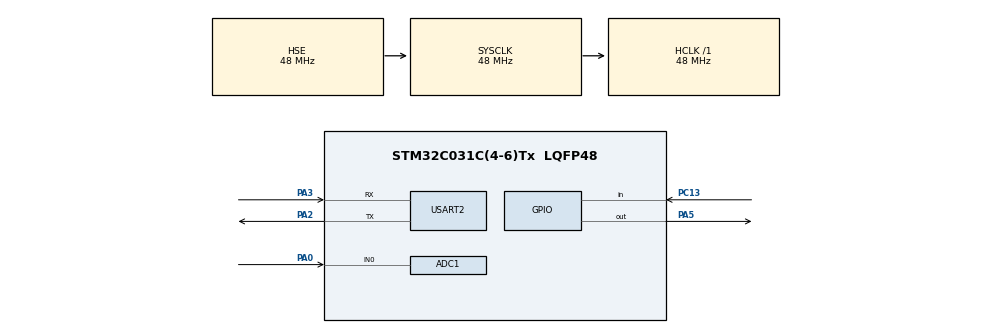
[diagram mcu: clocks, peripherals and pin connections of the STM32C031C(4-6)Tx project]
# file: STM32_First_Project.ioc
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ADC1.NbrOfConversionFlag=0
ADC1.SelectedChannel=ADC_CHANNEL_0
ADC1.master=1
Mcu.Family=STM32C0
Mcu.Name=STM32C031C(4-6)Tx
Mcu.Package=LQFP48
NUCLEO-C031C6.BUTTON=1
NUCLEO-C031C6.LD4=true
NUCLEO-C031C6.VCP=false
NVIC.ADC1_IRQn=true\:0\:0\:false\:false\:true\:true\:true\:true
NVIC.USART2_IRQn=true\:0\:0\:false\:false\:true\:true\:true\:true
PA0.Mode=IN0
PA0.Signal=ADC1_IN0
PA13.GPIO_Label=DEBUG_SWDIO
PA13.Signal=DEBUG_SWDIO
PA14-BOOT0.GPIO_Label=DEBUG_SWCLK
PA14-BOOT0.Signal=DEBUG_SWCLK
PA2.Mode=Asynchronous
PA2.Signal=USART2_TX
PA3.Mode=Asynchronous
PA3.Signal=USART2_RX
PA5.Signal=GPIO_Output
PC13.Signal=GPIO_Input
PC14-OSCX_IN\ (PC14).GPIO_Label=RCC_OSCX_IN
PC14-OSCX_IN\ (PC14).Mode=LSE-External-Oscillator
PC14-OSCX_IN\ (PC14).Signal=RCC_OSCX_IN
PC15-OSCX_OUT\ (PC15).GPIO_Label=RCC_OSCX_OUT
PC15-OSCX_OUT\ (PC15).Mode=LSE-External-Oscillator
PC15-OSCX_OUT\ (PC15).Signal=RCC_OSCX_OUT
PF0-OSC_IN\ (PF0).GPIO_Label=RCC_OSC_IN
PF0-OSC_IN\ (PF0).Mode=HSE-External-Oscillator
PF0-OSC_IN\ (PF0).Signal=RCC_OSC_IN
PF1-OSC_OUT\ (PF1).GPIO_Label=RCC_OSC_OUT
PF1-OSC_OUT\ (PF1).Mode=HSE-External-Oscillator
PF1-OSC_OUT\ (PF1).Signal=RCC_OSC_OUT
ProjectManager.HeapSize=0x200
ProjectManager.StackSize=0x400
ProjectManager.TargetToolchain=STM32CubeIDE
RCC.ADCFreq_Value=48000000
RCC.AHBFreq_Value=48000000
RCC.CortexFreq_Value=48000000
RCC.EXTERNAL_CLOCK_VALUE=12288000
RCC.HCLKFreq_Value=48000000
RCC.HSE_VALUE=48000000
RCC.HSISYSCLKDivider=RCC_HSI_DIV1
RCC.HSI_VALUE=48000000
RCC.SYSCLKFreq_VALUE=48000000
RCC.SYSCLKSource=RCC_SYSCLKSOURCE_HSE
USART2.VirtualMode-Asynchronous=VM_ASYNC
VP_NUCLEO-C031C6_VS_BSP_COMMON.Mode=COMMON
board=NUCLEO-C031C6

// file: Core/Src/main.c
/* USER CODE BEGIN Header */
/**
  ******************************************************************************
  * @file           : main.c
  * @brief          : Main program body
  ******************************************************************************
  * @attention
  *
  * Copyright (c) 2026 STMicroelectronics.
  * All rights reserved.
  *
  * This software is licensed under terms that can be found in the LICENSE file
  * in the root directory of this software component.
  * If no LICENSE file comes with this software, it is provided AS-IS.
  *
  ******************************************************************************
  */
/* USER CODE END Header */
#include "main.h"

/* USER CODE BEGIN Includes */
#include <string.h>
#include "stm32c0xx.h"
/* USER CODE END Includes */

ADC_HandleTypeDef hadc1;

UART_HandleTypeDef huart2;

/* USER CODE BEGIN PV */
uint32_t adc_value = 0;

#define FILTER_SIZE 10

uint32_t adc_buffer[FILTER_SIZE];
uint32_t adc_filtered = 0;

static volatile uint8_t uart_rx_byte = 0;

static volatile uint8_t uart_response_code = 0;

#define UART_RESPONSE_NONE       0U
#define UART_RESPONSE_LED_ON     1U
#define UART_RESPONSE_LED_OFF    2U
#define UART_RESPONSE_TOGGLE     3U
#define UART_RESPONSE_STATUS     4U
#define UART_RESPONSE_INVALID    5U
#define UART_RESPONSE_ERROR     6U

/* USER CODE END PV */

void SystemClock_Config(void);
static void MX_GPIO_Init(void);
static void MX_USART2_UART_Init(void);
static void MX_ADC1_Init(void);
/* USER CODE BEGIN PFP */
static void UART_SendUInt(uint32_t value);
uint32_t ADC_ReadFiltered(void);
static void UART_SendText(const char *text);
/* USER CODE END PFP */

int main(void)
{

  /* MCU Configuration--------------------------------------------------------*/

  /* Reset of all peripherals, Initializes the Flash interface and the Systick. */
  HAL_Init();

  /* Configure the system clock */
  SystemClock_Config();

  /* Initialize all configured peripherals */
  MX_GPIO_Init();
  MX_USART2_UART_Init();
  MX_ADC1_Init();
  /* USER CODE BEGIN 2 */
  uint8_t message[] = "ADC Measurement Started\r\n";

  HAL_UART_Transmit(
      &huart2,
      message,
      sizeof(message) - 1,
      HAL_MAX_DELAY
  );

  HAL_GPIO_WritePin(GPIOA, GPIO_PIN_5, GPIO_PIN_RESET);

  UART_SendText("\r\nSTM32 UART LED Control Ready\r\n");

  UART_SendText("Commands:\r\n");
  UART_SendText("1 = LED ON\r\n");
  UART_SendText("0 = LED OFF\r\n");
  UART_SendText("t = LED TOGGLE\r\n");
  UART_SendText("s = LED STATUS\r\n");

  if (HAL_UART_Receive_IT(&huart2, (uint8_t *)&uart_rx_byte, 1) != HAL_OK)
  {
      Error_Handler();
  }

  /* USER CODE END 2 */

  /* Initialize leds */
  BSP_LED_Init(LED_GREEN);

  /* Initialize USER push-button, will be used to trigger an interrupt each time it's pressed.*/

  /* Infinite loop */
  /* USER CODE BEGIN WHILE */

  while (1)
  {

	  adc_filtered = ADC_ReadFiltered();

	  /* Voltage calculation in millivolts */
	  uint32_t voltage_mV = (adc_filtered * 3300U) / 4095U;

	  /* Send ADC value */
	  UART_SendText("ADC: ");
	  UART_SendUInt(adc_filtered);

	  /* Send voltage */
	  UART_SendText(" | Voltage: ");

	  UART_SendUInt(voltage_mV / 1000U);

	  UART_SendText(".");

	  uint32_t fractional = voltage_mV % 1000U;

	  char decimal_part[3] =
	  {
	      (char)('0' + fractional / 100U),
	      (char)('0' + (fractional / 10U) % 10U),
	      (char)('0' + fractional % 10U)
	  };

	  HAL_UART_Transmit(&huart2,
	                    (uint8_t *)decimal_part,
	                    3,
	                    100);

	  UART_SendText(" V\r\n");

	  HAL_Delay(500);
  }
    /* USER CODE END WHILE */

}

void SystemClock_Config(void)
{
  RCC_OscInitTypeDef RCC_OscInitStruct = {0};
  RCC_ClkInitTypeDef RCC_ClkInitStruct = {0};

  __HAL_FLASH_SET_LATENCY(FLASH_LATENCY_1);

  /** Initializes the RCC Oscillators according to the specified parameters
  * in the RCC_OscInitTypeDef structure.
  */
  RCC_OscInitStruct.OscillatorType = RCC_OSCILLATORTYPE_HSE;
  RCC_OscInitStruct.HSEState = RCC_HSE_ON;
  if (HAL_RCC_OscConfig(&RCC_OscInitStruct) != HAL_OK)
  {
    Error_Handler();
  }

  /** Initializes the CPU, AHB and APB buses clocks
  */
  RCC_ClkInitStruct.ClockType = RCC_CLOCKTYPE_HCLK|RCC_CLOCKTYPE_SYSCLK
                              |RCC_CLOCKTYPE_PCLK1;
  RCC_ClkInitStruct.SYSCLKSource = RCC_SYSCLKSOURCE_HSE;
  RCC_ClkInitStruct.SYSCLKDivider = RCC_SYSCLK_DIV1;
  RCC_ClkInitStruct.AHBCLKDivider = RCC_HCLK_DIV1;
  RCC_ClkInitStruct.APB1CLKDivider = RCC_APB1_DIV1;

  if (HAL_RCC_ClockConfig(&RCC_ClkInitStruct, FLASH_LATENCY_1) != HAL_OK)
  {
    Error_Handler();
  }
}

static void MX_ADC1_Init(void)
{

  ADC_ChannelConfTypeDef sConfig = {0};

  /** Configure the global features of the ADC (Clock, Resolution, Data Alignment and number of conversion)
  */
  hadc1.Instance = ADC1;
  hadc1.Init.ClockPrescaler = ADC_CLOCK_SYNC_PCLK_DIV2;
  hadc1.Init.Resolution = ADC_RESOLUTION_12B;
  hadc1.Init.DataAlign = ADC_DATAALIGN_RIGHT;
  hadc1.Init.ScanConvMode = ADC_SCAN_SEQ_FIXED;
  hadc1.Init.EOCSelection = ADC_EOC_SINGLE_CONV;
  hadc1.Init.LowPowerAutoWait = DISABLE;
  hadc1.Init.LowPowerAutoPowerOff = DISABLE;
  hadc1.Init.ContinuousConvMode = DISABLE;
  hadc1.Init.NbrOfConversion = 1;
  hadc1.Init.DiscontinuousConvMode = DISABLE;
  hadc1.Init.ExternalTrigConv = ADC_SOFTWARE_START;
  hadc1.Init.ExternalTrigConvEdge = ADC_EXTERNALTRIGCONVEDGE_NONE;
  hadc1.Init.DMAContinuousRequests = DISABLE;
  hadc1.Init.Overrun = ADC_OVR_DATA_PRESERVED;
  hadc1.Init.SamplingTimeCommon1 = ADC_SAMPLETIME_1CYCLE_5;
  hadc1.Init.OversamplingMode = DISABLE;
  hadc1.Init.TriggerFrequencyMode = ADC_TRIGGER_FREQ_HIGH;
  if (HAL_ADC_Init(&hadc1) != HAL_OK)
  {
    Error_Handler();
  }

  /** Configure Regular Channel
  */
  sConfig.Channel = ADC_CHANNEL_0;
  sConfig.Rank = ADC_RANK_CHANNEL_NUMBER;
  if (HAL_ADC_ConfigChannel(&hadc1, &sConfig) != HAL_OK)
  {
    Error_Handler();
  }

}

static void MX_USART2_UART_Init(void)
{

  huart2.Instance = USART2;
  huart2.Init.BaudRate = 115200;
  huart2.Init.WordLength = UART_WORDLENGTH_8B;
  huart2.Init.StopBits = UART_STOPBITS_1;
  huart2.Init.Parity = UART_PARITY_NONE;
  huart2.Init.Mode = UART_MODE_TX_RX;
  huart2.Init.HwFlowCtl = UART_HWCONTROL_NONE;
  huart2.Init.OverSampling = UART_OVERSAMPLING_16;
  huart2.Init.OneBitSampling = UART_ONE_BIT_SAMPLE_DISABLE;
  huart2.Init.ClockPrescaler = UART_PRESCALER_DIV1;
  huart2.AdvancedInit.AdvFeatureInit = UART_ADVFEATURE_NO_INIT;
  if (HAL_UART_Init(&huart2) != HAL_OK)
  {
    Error_Handler();
  }

}

static void MX_GPIO_Init(void)
{

  /* GPIO Ports Clock Enable */
  __HAL_RCC_GPIOC_CLK_ENABLE();
  __HAL_RCC_GPIOF_CLK_ENABLE();
  __HAL_RCC_GPIOA_CLK_ENABLE();

}

/* USER CODE BEGIN 4 */
static void UART_SendUInt(uint32_t value)
{
    char digits[10];
    uint8_t count = 0;

    do
    {
        digits[count++] = (char)('0' + (value % 10U));
        value /= 10U;

    } while (value > 0U && count < sizeof(digits));

    for (uint8_t i = 0; i < count / 2U; i++)
    {
        char temp = digits[i];

        digits[i] = digits[count - 1U - i];
        digits[count - 1U - i] = temp;
    }

    HAL_UART_Transmit(&huart2,
                      (uint8_t *)digits,
                      count,
                      100);
}

uint32_t ADC_ReadFiltered(void)
{
    uint32_t sum = 0;

    for (uint8_t i = 0; i < FILTER_SIZE; i++)
    {
        HAL_ADC_Start(&hadc1);

        if (HAL_ADC_PollForConversion(&hadc1, 10) == HAL_OK)
        {
            adc_buffer[i] = HAL_ADC_GetValue(&hadc1);
        }

        HAL_ADC_Stop(&hadc1);

        sum += adc_buffer[i];
    }

    return sum / FILTER_SIZE;
}

static void UART_SendText(const char *text)
{
    HAL_UART_Transmit(&huart2,
                      (uint8_t *)text,
                      strlen(text),
                      100);
}
/* USER CODE END 4 */

void Error_Handler(void)
{
  __disable_irq();
  while (1)
  {
  }
}
